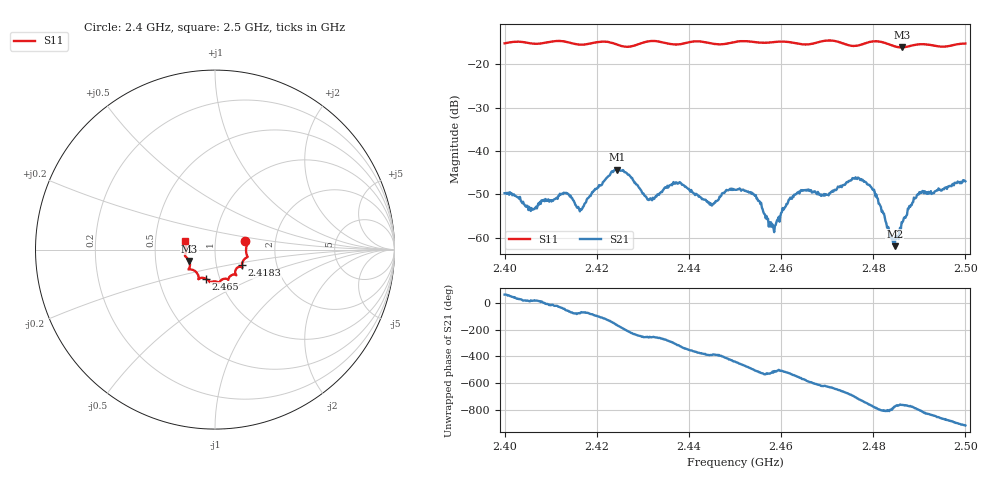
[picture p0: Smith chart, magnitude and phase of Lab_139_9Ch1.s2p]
# Hz S RI R 50
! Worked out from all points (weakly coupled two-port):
!   601 points, 2.4 GHz to 2.5 GHz, reference 50 ohm
!   highest |S21| = -44.29 dB at 2.4243 GHz (marker M1); lowest = -62.0 dB at 2.4847 GHz (marker M2)
!   lowest |S11| = -16.1 dB at 2.4862 GHz (marker M3), VSWR 1.37, Z = 37.2 - j4.8 ohm
!   |S11| at or under -10 dB: start of sweep to end of sweep
!   S12 and S22 are empty: the file has one direction only
!   S11 on the Smith chart (normalised r, x): 2.4 GHz: 1.40, +0.13; 2.4183 GHz: 1.33, -0.24; 2.465 GHz: 0.86, -0.28; 2.5 GHz: 0.71, +0.07
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2.4e9  0.1686 0.0465  0.00154 0.00287  0 0  0 0
2.406e9  0.1735 0.00882  0.00202 0.000559  0 0  0 0
2.413333e9  0.1767 -0.0441  0.00186 -0.00272  0 0  0 0
2.416667e9  0.1546 -0.0677  0.000741 -0.00195  0 0  0 0
2.418333e9  0.1498 -0.0866  0.000598 -0.00287  0 0  0 0
2.424333e9  0.1403 -0.0954  -0.00589 -0.00162  0 0  0 0
2.431e9  0.1167 -0.1416  -0.000767 0.00265  0 0  0 0
2.433333e9  0.1176 -0.141  -0.00037 0.00312  0 0  0 0
2.437667e9  0.0851 -0.1472  0.0031 0.00295  0 0  0 0
2.445e9  0.0622 -0.1624  0.00201 -0.00121  0 0  0 0
2.45e9  0.0256 -0.1797  0.00061 -0.00351  0 0  0 0
2.454167e9  0.0136 -0.1806  -0.0025 -0.00185  0 0  0 0
2.458167e9  -0.0186 -0.179  -0.00127 -0.000624  0 0  0 0
2.465e9  -0.0525 -0.1613  -0.00293 0.00197  0 0  0 0
2.466667e9  -0.0711 -0.1571  -0.00179 0.00279  0 0  0 0
2.477167e9  -0.1236 -0.1131  0.00458 -0.000538  0 0  0 0
2.4805e9  -0.1478 -0.1105  0.0011 -0.00278  0 0  0 0
2.483333e9  -0.141 -0.0967  1.13e-05 -0.0013  0 0  0 0
2.484667e9  -0.1393 -0.0815  0.000427 -0.000672  0 0  0 0
2.486167e9  -0.1436 -0.063  0.00108 -0.00105  0 0  0 0
2.490167e9  -0.1666 -0.0365  0.000171 -0.00324  0 0  0 0
2.5e9  -0.1673 0.0471  -0.00424 0.00142  0 0  0 0
